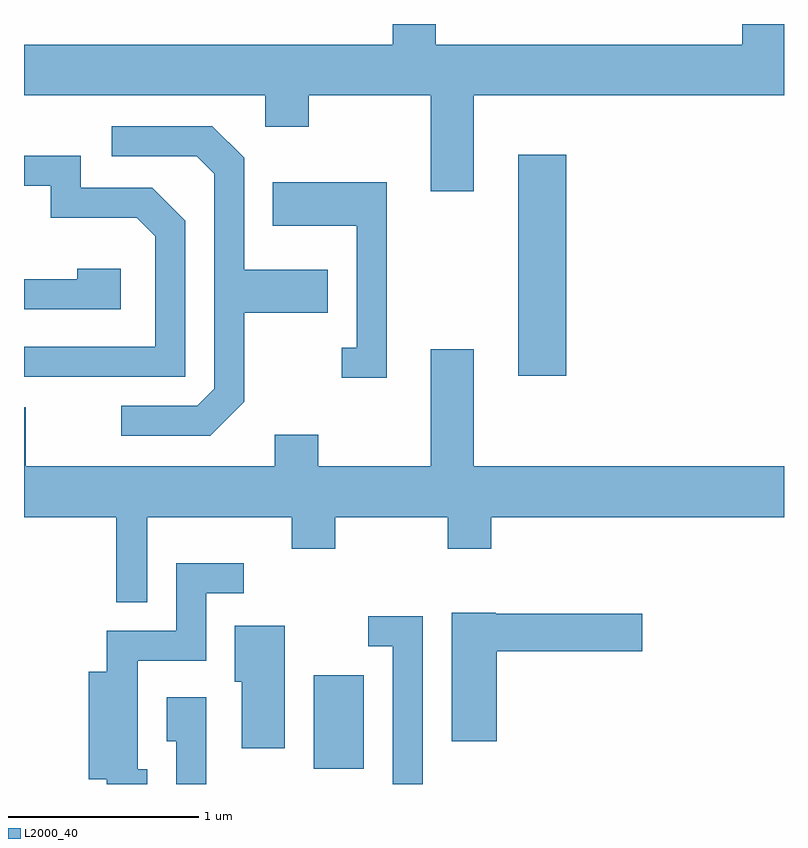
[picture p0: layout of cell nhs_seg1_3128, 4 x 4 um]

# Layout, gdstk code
import gdstk
lib = gdstk.Library(unit=1e-6, precision=1e-09)
def R(c, l, rs):  # rectangles x0, y0, x1, y1
    for r in rs: c.add(gdstk.rectangle(r[:2], r[2:], *l))
def P(c, l, *ps):  # polygons
    for p in ps: c.add(gdstk.Polygon(p, *l))
L2000_40 = (2000, 40)

nhs_seg1_3128 = lib.new_cell('nhs_seg1_3128')
R(nhs_seg1_3128, L2000_40, [(281.136,913.791,281.399,914.284), (282.211,915.861,282.464,917.024)])
P(nhs_seg1_3128, L2000_40, [(281.979,917.336),(283.611,917.336),(283.611,917.712),(283.391,917.712),(283.391,917.604),(281.779,917.604),(281.779,917.712),(281.551,917.712),(281.551,917.604),(279.611,917.604),(279.611,917.336),(280.881,917.336),(280.881,917.171),(281.109,917.171),(281.109,917.336),(281.751,917.336),(281.751,916.831),(281.979,916.831)],
  [(280.769,915.724),(280.769,916.191),(281.209,916.191),(281.209,916.419),(280.769,916.419),(280.769,917.007),(280.602,917.174),(280.073,917.174),(280.073,917.016),(280.519,917.016),(280.611,916.924),(280.611,915.792),(280.524,915.704),(280.123,915.704),(280.123,915.546),(280.592,915.546)],
  [(280.459,916.677),(280.287,916.849),(279.909,916.849),(279.909,917.019),(279.611,917.019),(279.611,916.861),(279.751,916.861),(279.751,916.691),(280.204,916.691),(280.301,916.594),(280.301,916.014),(279.611,916.014),(279.611,915.856),(280.459,915.856)],
  [(281.519,916.879),(280.921,916.879),(280.921,916.651),(281.361,916.651),(281.361,916.009),(281.283,916.009),(281.283,915.851),(281.519,915.851)],
  [(280.119,916.424),(279.891,916.424),(279.891,916.369),(279.611,916.369),(279.611,916.211),(280.119,916.211)],
  [(280.259,915.116),(281.021,915.116),(281.021,914.951),(281.249,914.951),(281.249,915.116),(281.841,915.116),(281.841,914.951),(282.069,914.951),(282.069,915.116),(283.611,915.116),(283.611,915.384),(281.979,915.384),(281.979,915.999),(281.751,915.999),(281.751,915.384),(281.159,915.384),(281.159,915.549),(280.931,915.549),(280.931,915.384),(279.619,915.384),(279.619,915.694),(279.611,915.694),(279.611,915.116),(280.096,915.116),(280.096,914.668),(280.259,914.668)],
  [(280.259,913.789),(280.209,913.789),(280.209,914.361),(280.569,914.361),(280.569,914.716),(280.768,914.716),(280.768,914.874),(280.411,914.874),(280.411,914.519),(280.046,914.519),(280.046,914.304),(279.951,914.304),(279.951,913.736),(280.046,913.736),(280.046,913.712),(280.259,913.712)],
  [(282.099,914.411),(282.864,914.411),(282.864,914.609),(282.095,914.609),(282.095,914.614),(281.861,914.614),(281.861,913.936),(282.099,913.936)],
  [(281.709,914.594),(281.423,914.594),(281.423,914.436),(281.551,914.436),(281.551,913.712),(281.709,913.712)],
  [(280.984,914.544),(280.721,914.544),(280.721,914.251),(280.756,914.251),(280.756,913.901),(280.984,913.901)],
  [(280.569,914.169),(280.361,914.169),(280.361,913.936),(280.411,913.936),(280.411,913.712),(280.569,913.712)])

lib.write_gds('nhs_seg1_3128.gds')
